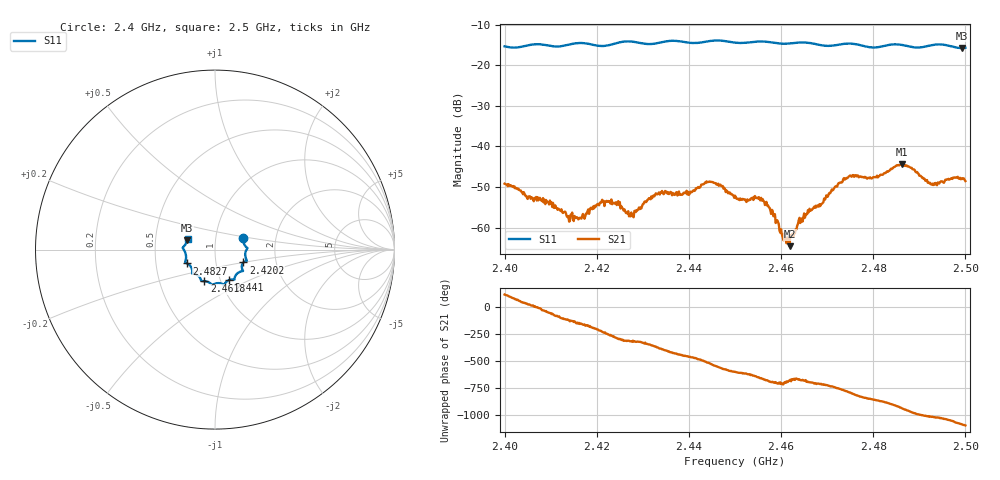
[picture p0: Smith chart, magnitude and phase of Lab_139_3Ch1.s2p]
# Hz S RI R 50
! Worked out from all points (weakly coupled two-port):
!   601 points, 2.4 GHz to 2.5 GHz, reference 50 ohm
!   highest |S21| = -44.33 dB at 2.4862 GHz (marker M1); lowest = -64.5 dB at 2.4618 GHz (marker M2)
!   lowest |S11| = -15.8 dB at 2.4993 GHz (marker M3), VSWR 1.39, Z = 36.5 + j3.84 ohm
!   |S11| at or under -10 dB: start of sweep to end of sweep
!   S12 and S22 are empty: the file has one direction only
!   S11 on the Smith chart (normalised r, x): 2.4 GHz: 1.36, +0.18; 2.4202 GHz: 1.36, -0.20; 2.441 GHz: 1.10, -0.39; 2.4618 GHz: 0.84, -0.30; 2.4827 GHz: 0.72, -0.12; 2.5 GHz: 0.73, +0.09
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2.4e9  0.1584 0.0629  -0.00135 0.00322  0 0  0 0
2.413833e9  0.1717 -0.0476  -0.000773 -0.00116  0 0  0 0
2.416667e9  0.1771 -0.061  -0.00119 -0.000514  0 0  0 0
2.420167e9  0.1586 -0.0715  -0.00172 0.00095  0 0  0 0
2.4245e9  0.1527 -0.1103  0.000757 0.00186  0 0  0 0
2.4275e9  0.1546 -0.1194  0.0012 0.000969  0 0  0 0
2.433333e9  0.1114 -0.1509  0.00251 -0.000793  0 0  0 0
2.441e9  0.0787 -0.1698  -0.00105 -0.0027  0 0  0 0
2.444833e9  0.0524 -0.1922  -0.00361 -0.000661  0 0  0 0
2.45e9  0.0285 -0.1874  -0.00122 0.00216  0 0  0 0
2.455667e9  -0.0151 -0.1953  0.00113 0.00204  0 0  0 0
2.458167e9  -0.0265 -0.1879  0.00145 0.00073  0 0  0 0
2.460667e9  -0.0477 -0.1773  0.000805 0.00027  0 0  0 0
2.461833e9  -0.0591 -0.1754  0.000469 0.000364  0 0  0 0
2.466667e9  -0.0787 -0.1682  0.00156 0.000544  0 0  0 0
2.4745e9  -0.1267 -0.1341  0.00168 -0.00379  0 0  0 0
2.482667e9  -0.156 -0.0773  -0.00453 -0.00128  0 0  0 0
2.483333e9  -0.1603 -0.0753  -0.00492 -0.000674  0 0  0 0
2.486167e9  -0.165 -0.0658  -0.00487 0.00363  0 0  0 0
2.4925e9  -0.1754 0.00171  0.00148 0.0031  0 0  0 0
2.499333e9  -0.1541 0.0513  0.00403 -0.00049  0 0  0 0
2.5e9  -0.1522 0.0607  0.0036 -0.00108  0 0  0 0
